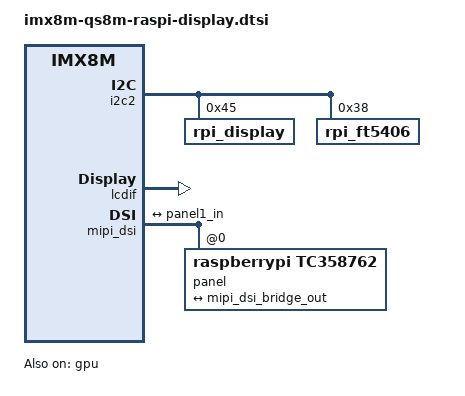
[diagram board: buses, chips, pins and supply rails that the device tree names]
// SPDX-License-Identifier: (GPL-2.0 OR MIT)
/*
 * Copyright (C) 2020 Markus Bauer <MB@KARO-electronics.de>
 *
 */

&gpu {
	status = "okay";
};

&i2c2 {
	rpi_display: rpi_display@45 {
		compatible = "rpi_display";
		reg = <0x45>;
	};

	rpi_ft5406: rpi_ft5406@38 {
		compatible = "rpi_ft5406";
		reg = <0x38>;
	};
};

&lcdif {
	status = "okay";
};

&mipi_dsi {
	status = "okay";

	panel@0 {
		compatible = "raspberrypi,tc358762";
		reg = <0>;
		dsi-lanes = <1>;
		video-mode = <2>;
		panel-width-mm = <154>;
		panel-height-mm = <86>;

		port {
			panel1_in: endpoint {
				remote-endpoint = <&mipi_dsi_bridge_out>;
			};
		};
	};

	port@1 {
		reg = <1>;

		mipi_dsi_bridge_out: endpoint {
			remote-endpoint = <&panel1_in>;
		};
	};
};
